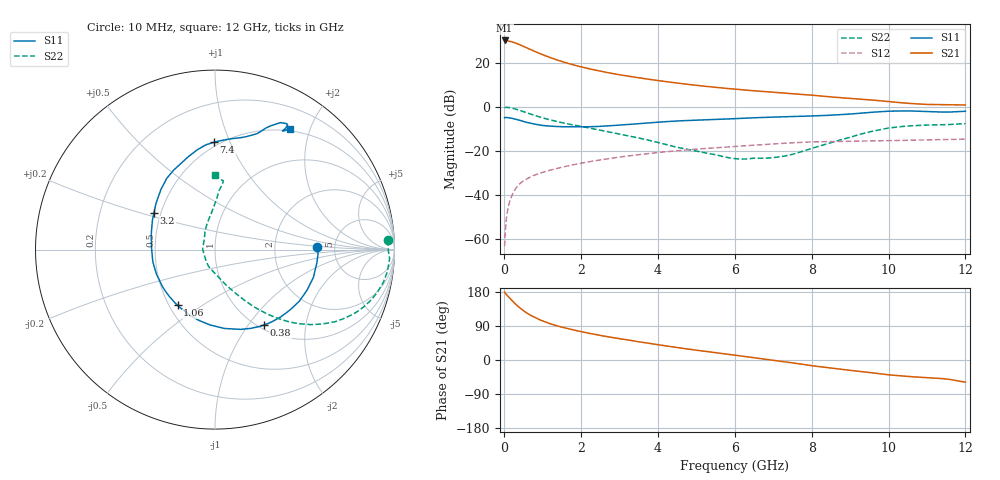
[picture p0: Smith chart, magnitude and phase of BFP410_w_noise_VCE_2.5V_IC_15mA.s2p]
! (c) 2015  Infineon Technologies AG, Munich
! Infineon Technologies  Discrete & RF Semiconductors
! BFP410
! VCE =  2.5 V,  IC =  15 mA
! Common Emitter S-Parameters:  Nov 2015
# GHz  S  MA  R  50
!  f  S11  S21  S12  S22
! GHz  MAG  ANG  MAG  ANG  MAG  ANG  MAG  ANG
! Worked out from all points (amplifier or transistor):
!   243 points, 10 MHz to 12 GHz, reference 50 ohm
!   highest |S21| = 30.1 dB at 10 MHz (marker M1)
!   |S21| within 3 dB of that: start of sweep to 542.2 MHz
!   unconditionally stable (mu >= 1): 2.076 GHz to end of sweep
!   at 240 MHz: K = 0.22, MSG = 33.9 dB, |S12| = -38.6 dB
!   at 1.84 GHz: K = 0.95, MSG = 22.4 dB, |S12| = -26.1 dB
!   at 12 GHz: K = 1.03, MAG = 6.7 dB, |S12| = -14.6 dB
!   lowest NFmin = 1.50 dB at 900 MHz
!   S11 on the Smith chart (normalised r, x): 10 MHz: 3.61, +0.13; 380 MHz: 1.06, -1.19; 1.06 GHz: 0.55, -0.40; 3.2 GHz: 0.46, +0.22; 7.4 GHz: 0.47, +0.87; 12 GHz: 0.47, +1.70
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0.01  0.5666 1.2  31.81 179.2  0.0007 108.5  0.9635 3.1
0.02  0.5748 -2.3  31.57 177.1  0.0011 96.6  0.9652 -0.2
0.06  0.5709 -9.1  31.13 172.4  0.0032 86.3  0.9728 -3.8
0.1  0.5697 -15.8  30.94 168.1  0.0051 84.8  0.9686 -7.2
0.195  0.5513 -30.6  29.64 157.7  0.0097 77.7  0.9379 -14.2
0.3  0.5235 -46.1  27.69 147.0  0.0142 72.7  0.8882 -21.0
0.38  0.5009 -56.9  25.98 139.8  0.0172 69.2  0.8448 -25.4
0.5  0.4674 -72.0  23.42 130.1  0.0211 65.2  0.7787 -31.1
0.6  0.4427 -83.1  21.38 123.1  0.0238 62.7  0.7265 -34.8
0.7  0.4211 -93.6  19.55 117.2  0.0264 60.8  0.679 -38.0
0.9  0.3911 -111.7  16.44 107.1  0.0309 58.2  0.5982 -43.0
1.06  0.3738 -123.9  14.44 100.7  0.0342 56.9  0.5449 -46.0
1.4  0.3576 -145.5  11.29 89.3  0.0409 55.0  0.4579 -51.2
2.02  0.3516 -173.6  7.953 74.5  0.0533 52.1  0.3575 -57.5
2.6  0.3665 165.5  6.157 63.0  0.0648 48.5  0.2834 -63.4
3.2  0.3966 149.1  4.988 53.2  0.0766 44.4  0.2233 -70.1
4.1  0.4555 130.3  3.828 38.8  0.0941 37.6  0.1484 -84.5
6.1  0.5449 104.4  2.47 11.4  0.1284 21.1  0.0661 -157.9
7.4  0.5985 90.5  2.017 -6.2  0.1518 9.3  0.0799 139.2
8.2  0.6298 79.8  1.767 -17.5  0.1617 0.3  0.1293 113.2
10.2  0.8016 61.5  1.267 -40.8  0.1727 -15.8  0.3467 84.9
12  0.7929 58.2  1.101 -58.5  0.1856 -31.1  0.4173 89.7
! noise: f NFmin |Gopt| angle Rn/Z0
0.45  1.52  0.06  -134  0.19
0.9  1.5  0.07  -151  0.16
1.8  1.61  0.12  -142  0.16
2.4  1.64  0.18  -123  0.21
5.5  2.49  0.39  -106  0.35
10  3.6  0.69  -47  2.16
